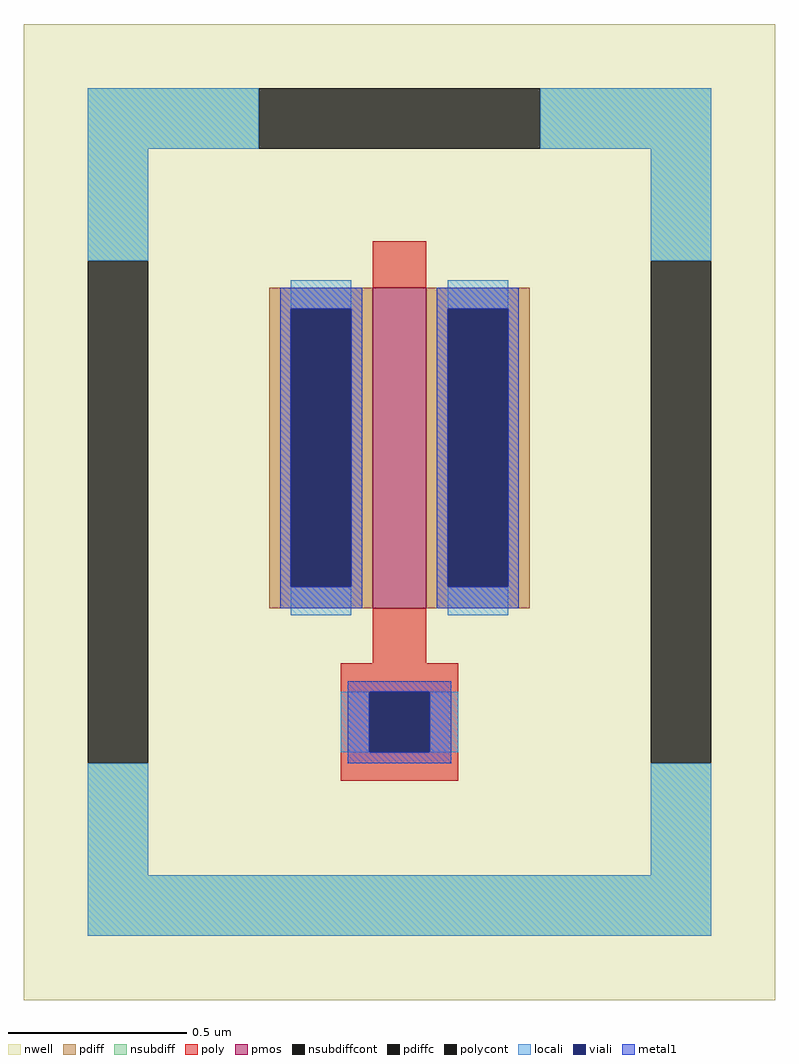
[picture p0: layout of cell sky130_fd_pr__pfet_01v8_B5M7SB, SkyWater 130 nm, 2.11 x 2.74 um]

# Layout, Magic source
magic
tech sky130A
magscale 1 2
<< nwell >>
rect -211 -274 211 274
<< pmos >>
rect -15 -54 15 126
<< pdiff >>
rect -73 114 -15 126
rect -73 -42 -61 114
rect -27 -42 -15 114
rect -73 -54 -15 -42
rect 15 114 73 126
rect 15 -42 27 114
rect 61 -42 73 114
rect 15 -54 73 -42
<< pdiffc >>
rect -61 -42 -27 114
rect 27 -42 61 114
<< nsubdiff >>
rect -175 204 -79 238
rect 79 204 175 238
rect -175 141 -141 204
rect 141 141 175 204
rect -175 -204 -141 -141
rect 141 -204 175 -141
rect -175 -238 175 -204
<< nsubdiffcont >>
rect -79 204 79 238
rect -175 -141 -141 141
rect 141 -141 175 141
<< poly >>
rect -15 126 15 152
rect -15 -85 15 -54
rect -33 -101 33 -85
rect -33 -135 -17 -101
rect 17 -135 33 -101
rect -33 -151 33 -135
<< polycont >>
rect -17 -135 17 -101
<< locali >>
rect -175 204 -79 238
rect 79 204 175 238
rect -175 141 -141 204
rect 141 141 175 204
rect -61 114 -27 130
rect -61 -58 -27 -42
rect 27 114 61 130
rect 27 -58 61 -42
rect -33 -135 -17 -101
rect 17 -135 33 -101
rect -175 -204 -141 -141
rect 141 -204 175 -141
rect -175 -238 175 -204
<< viali >>
rect -61 -42 -27 114
rect 27 -42 61 114
rect -17 -135 17 -101
<< metal1 >>
rect -67 114 -21 126
rect -67 -42 -61 114
rect -27 -42 -21 114
rect -67 -54 -21 -42
rect 21 114 67 126
rect 21 -42 27 114
rect 61 -42 67 114
rect 21 -54 67 -42
rect -29 -101 29 -95
rect -29 -135 -17 -101
rect 17 -135 29 -101
rect -29 -141 29 -135
<< properties >>
string gencell sky130_fd_pr__pfet_01v8
string FIXED_BBOX -158 -221 158 221
string parameters w 0.9 l 0.15 m 1 nf 1 diffcov 100 polycov 100 guard 1 glc 1 grc 1 gtc 1 gbc 0 tbcov 100 rlcov 100 topc 0 botc 1 poverlap 0 doverlap 1 lmin 0.15 wmin 0.42 compatible {sky130_fd_pr__pfet_01v8  sky130_fd_pr__pfet_01v8_lvt sky130_fd_pr__pfet_01v8_hvt  sky130_fd_pr__pfet_g5v0d10v5} full_metal 1 viagl 0 viagr 0 viagt 0 viagb 0 viagate 100 viadrn 100 viasrc 100
string library sky130
<< end >>
